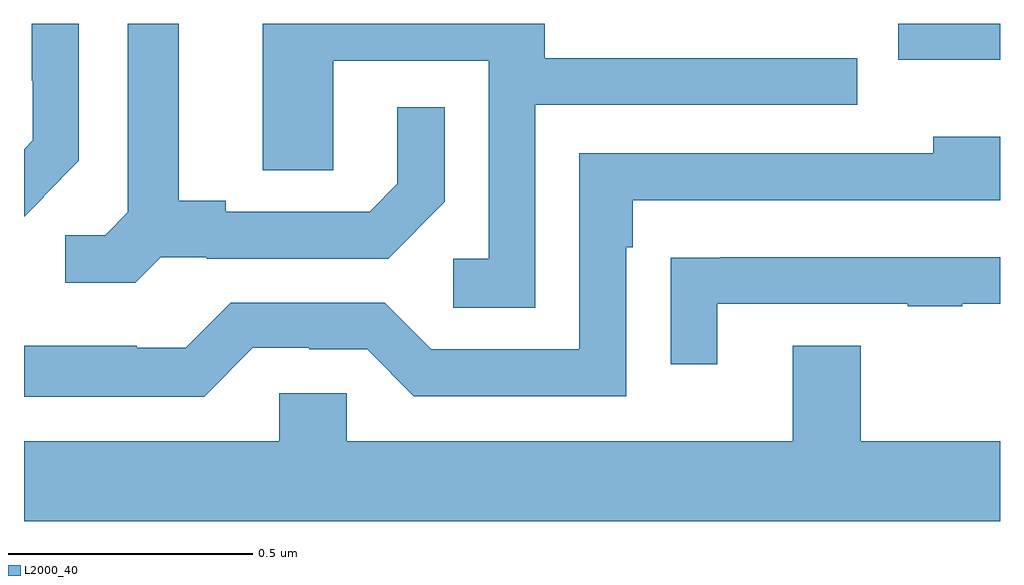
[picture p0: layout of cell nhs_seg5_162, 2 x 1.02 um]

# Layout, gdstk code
import gdstk
lib = gdstk.Library(unit=1e-6, precision=1e-09)
def R(c, l, rs):  # rectangles x0, y0, x1, y1
    for r in rs: c.add(gdstk.rectangle(r[:2], r[2:], *l))
def P(c, l, *ps):  # polygons
    for p in ps: c.add(gdstk.Polygon(p, *l))
L2000_40 = (2000, 40)

nhs_seg5_162 = lib.new_cell('nhs_seg5_162')
R(nhs_seg5_162, L2000_40, [(114.792,837.725,115,837.799)])
P(nhs_seg5_162, L2000_40, [(113.28,837.321),(113.374,837.321),(113.374,837.318),(113.746,837.318),(113.862,837.434),(113.862,837.628),(113.765,837.628),(113.765,837.471),(113.708,837.414),(113.413,837.414),(113.413,837.437),(113.317,837.437),(113.317,837.799),(113.213,837.799),(113.213,837.413),(113.166,837.366),(113.085,837.366),(113.085,837.269),(113.228,837.269)],
  [(114.048,837.633),(114.707,837.633),(114.707,837.729),(114.067,837.729),(114.067,837.799),(113.489,837.799),(113.489,837.499),(113.634,837.499),(113.634,837.723),(113.952,837.723),(113.952,837.318),(113.88,837.318),(113.88,837.217),(114.048,837.217)],
  [(113.04,837.444),(113.039,837.445),(113.112,837.518),(113.112,837.799),(113.016,837.799),(113.016,837.682),(113.018,837.682),(113.018,837.56),(113,837.542),(113,837.404)],
  [(113.469,837.135),(113.585,837.135),(113.585,837.132),(113.703,837.132),(113.799,837.036),(114.234,837.036),(114.234,837.341),(114.247,837.341),(114.247,837.438),(115,837.438),(115,837.568),(114.863,837.568),(114.863,837.534),(114.138,837.534),(114.138,837.132),(113.835,837.132),(113.739,837.228),(113.424,837.228),(113.331,837.135),(113.231,837.135),(113.231,837.139),(113,837.139),(113,837.035),(113.369,837.035)],
  [(114.421,837.225),(114.811,837.225),(114.811,837.22),(114.923,837.22),(114.923,837.225),(115,837.225),(115,837.321),(114.427,837.321),(114.427,837.32),(114.325,837.32),(114.325,837.102),(114.421,837.102)],
  [(115,836.944),(114.715,836.944),(114.715,837.139),(114.575,837.139),(114.575,836.944),(113.661,836.944),(113.661,837.042),(113.523,837.042),(113.523,836.944),(113,836.944),(113,836.78),(115,836.78)])

lib.write_gds('nhs_seg5_162.gds')
